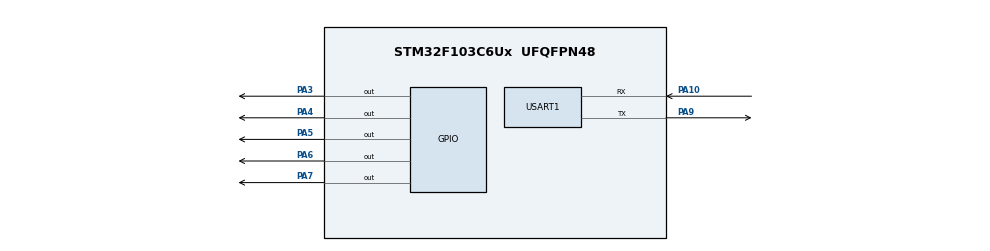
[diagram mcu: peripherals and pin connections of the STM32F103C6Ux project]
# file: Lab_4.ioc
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Mcu.Family=STM32F1
Mcu.Name=STM32F103C6Ux
Mcu.Package=UFQFPN48
NVIC.PriorityGroup=NVIC_PRIORITYGROUP_4
NVIC.TIM2_IRQn=true\:0\:0\:false\:false\:true\:true\:true
PA10.Mode=Asynchronous
PA10.Signal=USART1_RX
PA3.Signal=GPIO_Output
PA4.Signal=GPIO_Output
PA5.Signal=GPIO_Output
PA6.Signal=GPIO_Output
PA7.Signal=GPIO_Output
PA9.Mode=Asynchronous
PA9.Signal=USART1_TX
ProjectManager.HeapSize=0x200
ProjectManager.StackSize=0x400
ProjectManager.TargetToolchain=STM32CubeIDE
RCC.APB1Freq_Value=8000000
RCC.APB2Freq_Value=8000000
TIM2.Period=9
TIM2.Prescaler=7999
USART1.VirtualMode=VM_ASYNC
VP_SYS_VS_ND.Mode=No_Debug
VP_TIM2_VS_ClockSourceINT.Mode=Internal
board=custom

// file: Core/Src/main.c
/* USER CODE BEGIN Header */
/**
  ******************************************************************************
  * @file           : main.c
  * @brief          : Main program body
  ******************************************************************************
  * @attention
  *
  * <h2><center>&copy; Copyright (c) 2026 STMicroelectronics.
  * All rights reserved.</center></h2>
  *
  * This software component is licensed by ST under BSD 3-Clause license,
  * the "License"; You may not use this file except in compliance with the
  * License. You may obtain a copy of the License at:
  *                        opensource.org/licenses/BSD-3-Clause
  *
  ******************************************************************************
  */
/* USER CODE END Header */
#include "main.h"

/* USER CODE BEGIN Includes */
#include "scheduler.h"
#include <stdio.h>
#include <string.h>
/* USER CODE END Includes */

TIM_HandleTypeDef htim2;

UART_HandleTypeDef huart1;

/* USER CODE BEGIN PV */
uint32_t task_led1_id = NO_TASK_ID;
uint32_t system_time_ms = 0;
/* USER CODE END PV */

void SystemClock_Config(void);
static void MX_GPIO_Init(void);
static void MX_TIM2_Init(void);
static void MX_USART1_UART_Init(void);
/* USER CODE BEGIN PFP */
uint32_t get_time(void);
void UART_Print(char *str);

int __io_putchar(int ch) {
    HAL_UART_Transmit(&huart1, (uint8_t *)&ch, 1, 100);
    return ch;
}

void Led_Toggle_PA3(void);
void Led_Toggle_PA4(void);
void Led_Toggle_PA5(void);
void Led_Toggle_PA6(void);
void Led_Toggle_PA7(void);

void Task_Demo_Concurrent_800ms(void);

// Callbacks cho yeu cau: delay ban dau dai thuc day in timestamp
void Task_Delayed_Wakeup_1(void);
void Task_Delayed_Wakeup_2(void);

// Task Demo
void Task_Stop_Led1(void);
void Task_Print_Timestamp_10ms(void);
/* USER CODE END PFP */

int main(void)
{

  /* MCU Configuration--------------------------------------------------------*/

  /* Reset of all peripherals, Initializes the Flash interface and the Systick. */
  HAL_Init();

  /* Configure the system clock */
  SystemClock_Config();

  /* Initialize all configured peripherals */
  MX_GPIO_Init();
  MX_TIM2_Init();
  MX_USART1_UART_Init();
  /* USER CODE BEGIN 2 */
  HAL_GPIO_WritePin(GPIOA, GPIO_PIN_3 | GPIO_PIN_4 | GPIO_PIN_5 | GPIO_PIN_6 | GPIO_PIN_7, GPIO_PIN_SET);

  UART_Print("\r\n=== SCHEDULER SYSTEM STARTING ===\r\n");

  SCH_Init();
  system_time_ms = 0;
  HAL_TIM_Base_Start_IT(&htim2);

  task_led1_id = SCH_Add_Task(Led_Toggle_PA3, 50, 50);  // LED 1 (PA3): 500ms
  SCH_Add_Task(Led_Toggle_PA4, 100, 100);                 // LED 2 (PA4): 1000ms
  SCH_Add_Task(Led_Toggle_PA5, 150, 150);                 // LED 3 (PA5): 1500ms
  SCH_Add_Task(Led_Toggle_PA6, 200, 200);                 // LED 4 (PA6): 2000ms
  SCH_Add_Task(Led_Toggle_PA7, 250, 250);                 // LED 5 (PA7): 2500ms

  SCH_Add_Task(Task_Demo_Concurrent_800ms, 0, 80);        // Concurrent 800ms

  SCH_Add_Task(Task_Stop_Led1, 500, 0);                   // Stop LED 1 after 6000ms
  SCH_Add_Task(Task_Delayed_Wakeup_1, 150, 0);            // Wakeup after 1500ms (150 ticks)
//  SCH_Add_Task(Task_Delayed_Wakeup_2, 350, 0);            // Wakeup after 3500ms (350 ticks)

  SCH_Add_Task(Task_Print_Timestamp_10ms, 0, 1);          // Timestamp nhip 10ms
/* USER CODE END 2 */

  /* Infinite loop */
  /* USER CODE BEGIN WHILE */
  while (1)
  {
	  SCH_Dispatch_Tasks();
    /* USER CODE END WHILE */

  }
}

void SystemClock_Config(void)
{
  RCC_OscInitTypeDef RCC_OscInitStruct = {0};
  RCC_ClkInitTypeDef RCC_ClkInitStruct = {0};

  /** Initializes the RCC Oscillators according to the specified parameters
  * in the RCC_OscInitTypeDef structure.
  */
  RCC_OscInitStruct.OscillatorType = RCC_OSCILLATORTYPE_HSI;
  RCC_OscInitStruct.HSIState = RCC_HSI_ON;
  RCC_OscInitStruct.HSICalibrationValue = RCC_HSICALIBRATION_DEFAULT;
  RCC_OscInitStruct.PLL.PLLState = RCC_PLL_NONE;
  if (HAL_RCC_OscConfig(&RCC_OscInitStruct) != HAL_OK)
  {
    Error_Handler();
  }
  /** Initializes the CPU, AHB and APB buses clocks
  */
  RCC_ClkInitStruct.ClockType = RCC_CLOCKTYPE_HCLK|RCC_CLOCKTYPE_SYSCLK
                              |RCC_CLOCKTYPE_PCLK1|RCC_CLOCKTYPE_PCLK2;
  RCC_ClkInitStruct.SYSCLKSource = RCC_SYSCLKSOURCE_HSI;
  RCC_ClkInitStruct.AHBCLKDivider = RCC_SYSCLK_DIV1;
  RCC_ClkInitStruct.APB1CLKDivider = RCC_HCLK_DIV1;
  RCC_ClkInitStruct.APB2CLKDivider = RCC_HCLK_DIV1;

  if (HAL_RCC_ClockConfig(&RCC_ClkInitStruct, FLASH_LATENCY_0) != HAL_OK)
  {
    Error_Handler();
  }
}

static void MX_TIM2_Init(void)
{

  TIM_ClockConfigTypeDef sClockSourceConfig = {0};
  TIM_MasterConfigTypeDef sMasterConfig = {0};

  htim2.Instance = TIM2;
  htim2.Init.Prescaler = 7999;
  htim2.Init.CounterMode = TIM_COUNTERMODE_UP;
  htim2.Init.Period = 9;
  htim2.Init.ClockDivision = TIM_CLOCKDIVISION_DIV1;
  htim2.Init.AutoReloadPreload = TIM_AUTORELOAD_PRELOAD_DISABLE;
  if (HAL_TIM_Base_Init(&htim2) != HAL_OK)
  {
    Error_Handler();
  }
  sClockSourceConfig.ClockSource = TIM_CLOCKSOURCE_INTERNAL;
  if (HAL_TIM_ConfigClockSource(&htim2, &sClockSourceConfig) != HAL_OK)
  {
    Error_Handler();
  }
  sMasterConfig.MasterOutputTrigger = TIM_TRGO_RESET;
  sMasterConfig.MasterSlaveMode = TIM_MASTERSLAVEMODE_DISABLE;
  if (HAL_TIMEx_MasterConfigSynchronization(&htim2, &sMasterConfig) != HAL_OK)
  {
    Error_Handler();
  }

}

static void MX_USART1_UART_Init(void)
{

  huart1.Instance = USART1;
  huart1.Init.BaudRate = 115200;
  huart1.Init.WordLength = UART_WORDLENGTH_8B;
  huart1.Init.StopBits = UART_STOPBITS_1;
  huart1.Init.Parity = UART_PARITY_NONE;
  huart1.Init.Mode = UART_MODE_TX_RX;
  huart1.Init.HwFlowCtl = UART_HWCONTROL_NONE;
  huart1.Init.OverSampling = UART_OVERSAMPLING_16;
  if (HAL_UART_Init(&huart1) != HAL_OK)
  {
    Error_Handler();
  }

}

static void MX_GPIO_Init(void)
{
  GPIO_InitTypeDef GPIO_InitStruct = {0};

  /* GPIO Ports Clock Enable */
  __HAL_RCC_GPIOA_CLK_ENABLE();

  /*Configure GPIO pin Output Level */
  HAL_GPIO_WritePin(GPIOA, GPIO_PIN_3|GPIO_PIN_4|GPIO_PIN_5|GPIO_PIN_6
                          |GPIO_PIN_7, GPIO_PIN_RESET);

  /*Configure GPIO pins : PA3 PA4 PA5 PA6
                           PA7 */
  GPIO_InitStruct.Pin = GPIO_PIN_3|GPIO_PIN_4|GPIO_PIN_5|GPIO_PIN_6
                          |GPIO_PIN_7;
  GPIO_InitStruct.Mode = GPIO_MODE_OUTPUT_PP;
  GPIO_InitStruct.Pull = GPIO_NOPULL;
  GPIO_InitStruct.Speed = GPIO_SPEED_FREQ_LOW;
  HAL_GPIO_Init(GPIOA, &GPIO_InitStruct);

}

/* USER CODE BEGIN 4 */
uint32_t get_time(void) {
    return system_time_ms;
}

void UART_Print(char *str) {
    HAL_UART_Transmit(&huart1, (uint8_t *)str, strlen(str), 50);
}

void Led_Toggle_PA3(void) {
    HAL_GPIO_TogglePin(GPIOA, GPIO_PIN_3);
    char msg[64];
    sprintf(msg, "[%lu ms] Toggle LED 1\r\n", get_time());
    UART_Print(msg);
}

void Led_Toggle_PA4(void) {
    HAL_GPIO_TogglePin(GPIOA, GPIO_PIN_4);
    char msg[64];
    sprintf(msg, "[%lu ms] Toggle LED 2\r\n", get_time());
    UART_Print(msg);
}

void Led_Toggle_PA5(void) {
    HAL_GPIO_TogglePin(GPIOA, GPIO_PIN_5);
    char msg[64];
    sprintf(msg, "[%lu ms] Toggle LED 3\r\n", get_time());
    UART_Print(msg);
}

void Led_Toggle_PA6(void) {
    HAL_GPIO_TogglePin(GPIOA, GPIO_PIN_6);
    char msg[64];
    sprintf(msg, "[%lu ms] Toggle LED 4\r\n", get_time());
    UART_Print(msg);
}

void Led_Toggle_PA7(void) {
    HAL_GPIO_TogglePin(GPIOA, GPIO_PIN_7);
    char msg[64];
    sprintf(msg, "[%lu ms] Toggle LED 5\r\n", get_time());
    UART_Print(msg);
}

// Ham thuc hien xoa LED 1 sau 6s
void Task_Stop_Led1(void) {
    char msg[80];
    sprintf(msg, ">>> [%lu ms] 5s EXPIRED! DELETING LED 1 (ID: %lu) <<<\r\n", get_time(), task_led1_id);
    UART_Print(msg);
    SCH_Delete_Task(task_led1_id);
    // Tat han LED 1 de co dinh trang thai
    HAL_GPIO_WritePin(GPIOA, GPIO_PIN_3, GPIO_PIN_SET);
}

// In nhip 10ms (Demo theo yeu cau muc 5: print get_time every 10ms callback)
void Task_Print_Timestamp_10ms(void) {
    char msg[32];
    sprintf(msg, "%lu\r\n", get_time());
    UART_Print(msg);
}

void Task_Demo_Concurrent_800ms(void) {
    char msg[64];
    sprintf(msg, "[CONCURRENT] Task 800ms fired at: %lu ms\r\n", get_time());
    UART_Print(msg);
}

// Callback wake up sau 1500ms
void Task_Delayed_Wakeup_1(void) {
    char msg[80];
    sprintf(msg, ">>> [WAKEUP 1] Initial Delay 1500ms expired at: %lu ms <<<\r\n", get_time());
    UART_Print(msg);
}

// Callback wake up sau 3500ms
void Task_Delayed_Wakeup_2(void) {
    char msg[80];
    sprintf(msg, ">>> [WAKEUP 2] Initial Delay 3500ms expired at: %lu ms <<<\r\n", get_time());
    UART_Print(msg);
}

// Timer ISR Callback goi SCH_Update
void HAL_TIM_PeriodElapsedCallback(TIM_HandleTypeDef *htim) {
    if (htim->Instance == TIM2) {
        system_time_ms += 10; // Timer tick = 10ms
        SCH_Update();
    }
}
/* USER CODE END 4 */

void Error_Handler(void)
{
  __disable_irq();
  while (1)
  {
  }
}

/************************ (C) COPYRIGHT STMicroelectronics *****END OF FILE****/
